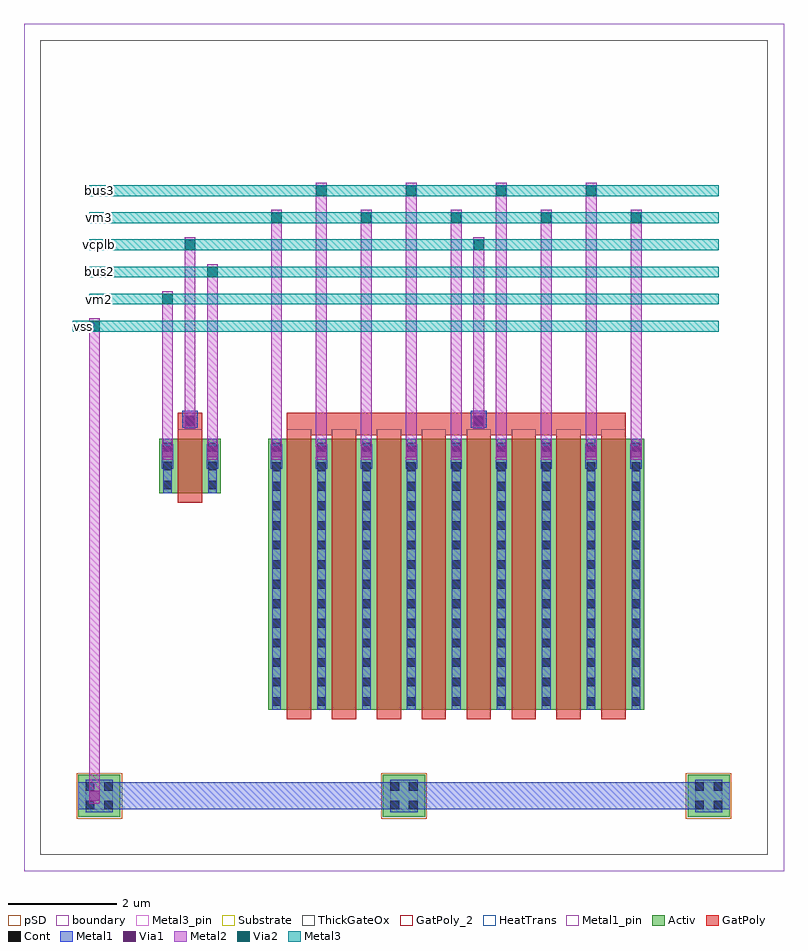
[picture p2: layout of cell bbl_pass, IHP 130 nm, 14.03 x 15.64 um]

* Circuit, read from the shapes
.subckt bbl_pass bus2 bus3 vcplb vm2 vm3 vss
XM1 bus2 vcplb vm2 vss sg13_hv_nmos w=1u l=0.45u
XM2 bus3 vcplb vm3 vss sg13_hv_nmos w=5u l=0.45u m=8
.ends

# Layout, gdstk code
import gdstk
lib = gdstk.Library(unit=1e-6, precision=1e-09)
def R(c, l, rs):  # rectangles x0, y0, x1, y1
    for r in rs: c.add(gdstk.rectangle(r[:2], r[2:], *l))
def A(c, l, x, y, w, h, nx, ny, dx, dy):  # array of equal rectangles
    R(c, l, [(x+i*dx, y+j*dy, x+i*dx+w, y+j*dy+h) for i in range(nx) for j in range(ny)])
Activ = (1, 0)
GatPoly = (5, 0)
GatPoly_2 = (5, 2)
Cont = (6, 0)
Metal1 = (8, 0)
Metal1_pin = (8, 2)
Metal2 = (10, 0)
pSD = (14, 0)
Via1 = (19, 0)
Via2 = (29, 0)
Metal3 = (30, 0)
Metal3_pin = (30, 2)
Substrate = (40, 0)
ThickGateOx = (44, 0)
HeatTrans = (51, 0)
boundary = (189, 4)

nmoshv_17 = lib.new_cell('nmosHV$17')
R(nmoshv_17, Activ, [(0,0,0.3,0.3), (0,0,1.13,1), (0.83,0,1.13,0.3)])
R(nmoshv_17, GatPoly, [(0.34,-0.18,0.79,1.18)])
R(nmoshv_17, GatPoly_2, [(0.34,-0.18,0.79,1.18)])
A(nmoshv_17, Cont, 0.07, 0.07, 0.16, 0.16, 1, 3, 0, 0.35)
A(nmoshv_17, Cont, 0.9, 0.07, 0.16, 0.16, 1, 3, 0, 0.35)
R(nmoshv_17, Metal1, [(0.07,0,0.23,1), (0.9,0,1.06,1)])
R(nmoshv_17, Metal1_pin, [(0.07,0,0.23,1), (0.9,0,1.06,1)])
R(nmoshv_17, ThickGateOx, [(-0.27,-0.52,1.4,1.52)])
R(nmoshv_17, HeatTrans, [(0.34,-0.18,0.79,1.18)])
nmoshv_17.add(gdstk.Label('nmosHV', (0.565,0.5), layer=63, texttype=0))
nmoshv_17.add(gdstk.Label('nmosHV', (0.565,0.5), layer=51, texttype=0))

nmoshv_15 = lib.new_cell('nmosHV$15')
A(nmoshv_15, Activ, 0, 0, 0.3, 0.3, 9, 1, 0.83, 0)
R(nmoshv_15, Activ, [(0,0,6.94,5)])
A(nmoshv_15, GatPoly, 0.34, -0.18, 0.45, 5.36, 8, 1, 0.83, 0)
R(nmoshv_15, GatPoly_2, [(0.34,-0.18,0.79,5.18)])
A(nmoshv_15, Cont, 0.07, 0.07, 0.16, 0.16, 9, 4, 0.83, 0.36)
A(nmoshv_15, Cont, 0.07, 1.515, 0.16, 0.16, 9, 3, 0.83, 0.36)
A(nmoshv_15, Cont, 0.07, 2.6, 0.16, 0.16, 9, 3, 0.83, 0.36)
A(nmoshv_15, Cont, 0.07, 3.685, 0.16, 0.16, 9, 3, 0.83, 0.36)
A(nmoshv_15, Cont, 0.07, 4.77, 0.16, 0.16, 9, 1, 0.83, 0)
A(nmoshv_15, Metal1, 0.07, 0, 0.16, 5, 9, 1, 0.83, 0)
R(nmoshv_15, Metal1_pin, [(0.07,0,0.23,5), (0.9,0,1.06,5)])
R(nmoshv_15, ThickGateOx, [(-0.27,-0.52,7.21,5.52)])
A(nmoshv_15, HeatTrans, 0.34, -0.18, 0.45, 5.36, 8, 1, 0.83, 0)
nmoshv_15.add(gdstk.Label('nmosHV', (0.565,2.5), layer=63, texttype=0))
nmoshv_15.add(gdstk.Label('nmosHV', (0.565,2.5), layer=51, texttype=0))
nmoshv_15.add(gdstk.Label('nmosHV', (1.395,2.5), layer=51, texttype=0))
nmoshv_15.add(gdstk.Label('nmosHV', (2.225,2.5), layer=51, texttype=0))
nmoshv_15.add(gdstk.Label('nmosHV', (3.055,2.5), layer=51, texttype=0))
nmoshv_15.add(gdstk.Label('nmosHV', (3.885,2.5), layer=51, texttype=0))
nmoshv_15.add(gdstk.Label('nmosHV', (4.715,2.5), layer=51, texttype=0))
nmoshv_15.add(gdstk.Label('nmosHV', (5.545,2.5), layer=51, texttype=0))
nmoshv_15.add(gdstk.Label('nmosHV', (6.375,2.5), layer=51, texttype=0))

ptap1 = lib.new_cell('ptap1')
R(ptap1, Activ, [(0,0,0.78,0.78)])
R(ptap1, Cont, [(0.14,0.14,0.3,0.3), (0.48,0.14,0.64,0.3), (0.14,0.48,0.3,0.64), (0.48,0.48,0.64,0.64)])
R(ptap1, Metal1, [(0.14,0.09,0.64,0.69), (0.14,0.14,0.64,0.64)])
R(ptap1, Metal1_pin, [(0.14,0.14,0.64,0.64)])
R(ptap1, pSD, [(-0.03,-0.03,0.81,0.81)])
R(ptap1, Substrate, [(0,0,0.78,0.78)])
ptap1.add(gdstk.Label('sub!', (0.39,0.01), layer=63, texttype=0))
ptap1.add(gdstk.Label('sub!', (0.39,0.01), layer=40, texttype=0))

bbl_pass = lib.new_cell('bbl_pass')
R(bbl_pass, GatPoly, [(1.84,7.05,2.29,7.46), (3.85,7.05,10.11,7.46)])
R(bbl_pass, Cont, [(1.985,7.23,2.145,7.39), (7.315,7.23,7.475,7.39)])
A(bbl_pass, Metal1, 3.555, 6.43, 0.21, 0.45, 9, 1, 0.83, 0)
R(bbl_pass, Metal1, [(0,0.14,12.03,0.64), (1.545,6.43,1.755,6.88), (2.375,6.43,2.585,6.88), (1.92,7.18,2.21,7.5), (7.25,7.18,7.54,7.5)])
A(bbl_pass, Metal2, 3.56, 6.59, 0.2, 4.615, 5, 1, 1.66, 0)
A(bbl_pass, Metal2, 4.39, 6.59, 0.2, 5.115, 4, 1, 1.66, 0)
R(bbl_pass, Metal2, [(0.2,0.245,0.4,9.205), (1.55,6.59,1.75,9.705), (2.38,6.59,2.58,10.205), (1.965,7.165,2.165,10.705), (7.295,7.165,7.495,10.705)])
A(bbl_pass, Via1, 3.565, 6.64, 0.19, 0.19, 9, 1, 0.83, 0)
R(bbl_pass, Via1, [(0.205,0.295,0.395,0.485), (1.555,6.64,1.745,6.83), (2.385,6.64,2.575,6.83), (1.97,7.215,2.16,7.405), (7.3,7.215,7.49,7.405)])
A(bbl_pass, Via2, 3.565, 10.965, 0.19, 0.19, 5, 1, 1.66, 0)
A(bbl_pass, Via2, 4.395, 11.465, 0.19, 0.19, 4, 1, 1.66, 0)
R(bbl_pass, Via2, [(0.205,8.965,0.395,9.155), (1.555,9.465,1.745,9.655), (2.385,9.965,2.575,10.155), (1.97,10.465,2.16,10.655), (7.3,10.465,7.49,10.655)])
A(bbl_pass, Metal3, 0.2, 9.46, 11.63, 0.2, 1, 5, 0, 0.5)
R(bbl_pass, Metal3, [(-0.1,8.96,11.83,9.16)])
A(bbl_pass, Metal3_pin, 0.2, 9.46, 0.4, 0.2, 1, 5, 0, 0.5)
R(bbl_pass, Metal3_pin, [(-0.1,8.96,0.3,9.16)])
R(bbl_pass, ThickGateOx, [(-0.7,-0.7,12.73,14.34)])
R(bbl_pass, boundary, [(-1,-1,13.03,14.64)])
bbl_pass.add(gdstk.Reference(nmoshv_17, (1.5,5.98)))
bbl_pass.add(gdstk.Reference(nmoshv_15, (3.51,1.98)))
bbl_pass.add(gdstk.Reference(ptap1, (0,0)))
bbl_pass.add(gdstk.Reference(ptap1, (5.625,0)))
bbl_pass.add(gdstk.Reference(ptap1, (11.25,0)))
bbl_pass.add(gdstk.Label('vm2', (0.4,9.56), layer=30, texttype=25))
bbl_pass.add(gdstk.Label('bus2', (0.4,10.06), layer=30, texttype=25))
bbl_pass.add(gdstk.Label('vcplb', (0.4,10.56), layer=30, texttype=25))
bbl_pass.add(gdstk.Label('vm3', (0.4,11.06), layer=30, texttype=25))
bbl_pass.add(gdstk.Label('bus3', (0.4,11.56), layer=30, texttype=25))
bbl_pass.add(gdstk.Label('vss', (0.1,9.06), layer=30, texttype=25))

lib.write_gds('bbl_pass.gds')
